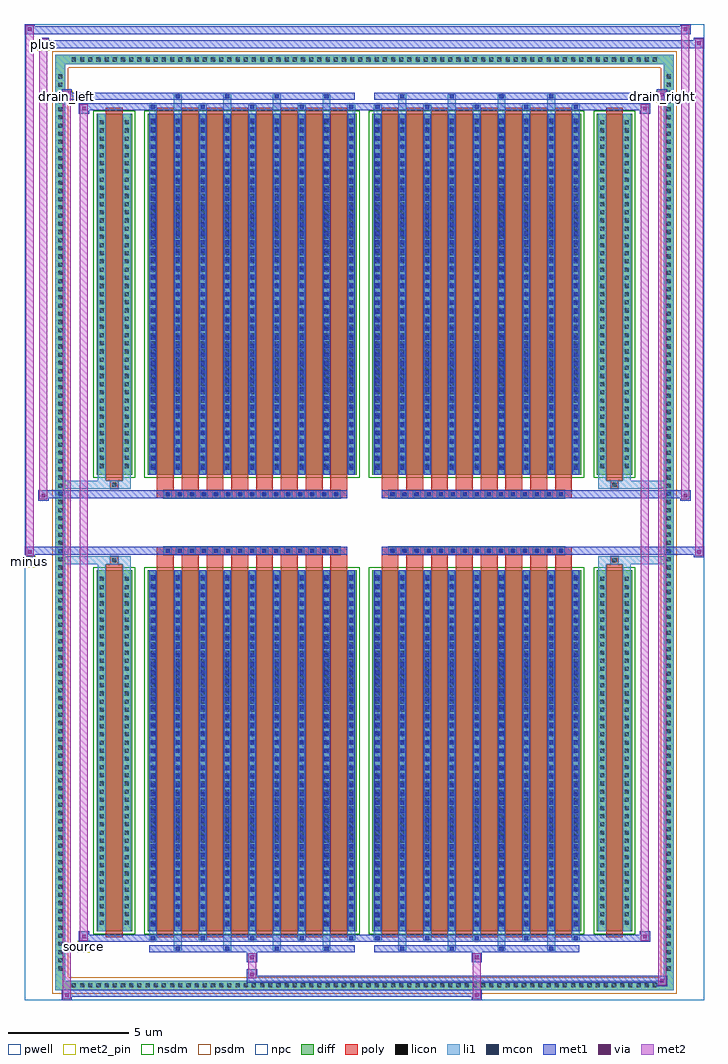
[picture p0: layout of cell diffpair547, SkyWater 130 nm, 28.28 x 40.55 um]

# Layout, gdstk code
import gdstk
lib = gdstk.Library(unit=1e-6, precision=5e-09)
def R(c, l, rs):  # rectangles x0, y0, x1, y1
    for r in rs: c.add(gdstk.rectangle(r[:2], r[2:], *l))
def A(c, l, x, y, w, h, nx, ny, dx, dy):  # array of equal rectangles
    R(c, l, [(x+i*dx, y+j*dy, x+i*dx+w, y+j*dy+h) for i in range(nx) for j in range(ny)])
def P(c, l, *ps):  # polygons
    for p in ps: c.add(gdstk.Polygon(p, *l))
pwell = (64, 44)
diff = (65, 20)
poly = (66, 20)
licon = (66, 44)
li1 = (67, 20)
mcon = (67, 44)
met1 = (68, 20)
via = (68, 44)
met2_pin = (69, 16)
met2 = (69, 20)
nsdm = (93, 44)
psdm = (94, 20)
npc = (95, 20)

diffpair547 = lib.new_cell('diffpair547')
R(diffpair547, pwell, [(-14.12,-19.84,14.12,20.71), (-11.44,-18.03,-0.01,-0.805), (0.01,-18.03,11.44,-0.805), (-11.44,0.805,-0.01,18.03), (0.01,0.805,11.44,18.03)])
A(diffpair547, diff, -12.275, -19.44, 0.41, 0.41, 72, 2, 0.34, 38.47)
A(diffpair547, diff, -12.85, -18.735, 0.41, 0.41, 1, 110, 0, 0.34)
A(diffpair547, diff, 12.44, -18.735, 0.41, 0.41, 1, 110, 0, 0.34)
R(diffpair547, diff, [(-12.275,-19.44,12.275,-19.03), (-12.85,-18.735,-12.44,18.735), (12.44,-18.735,12.85,18.735), (-11.13,-16.985,-9.65,-1.985), (-9.01,-16.985,-0.32,-1.985), (0.32,-16.985,9.01,-1.985), (9.65,-16.985,11.13,-1.985), (-11.13,1.985,-9.65,16.985), (-9.01,1.985,-0.32,16.985), (0.32,1.985,9.01,16.985), (9.65,1.985,11.13,16.985), (-12.275,19.03,12.275,19.44)])
P(diffpair547, diff, [(12.85,19.44),(-12.85,19.44),(-12.85,-19.03),(-12.44,-19.03),(-12.44,19.03),(12.44,19.03),(12.44,-19.03),(-12.44,-19.03),(-12.85,-19.03),(-12.85,-19.44),(12.85,-19.44)])
A(diffpair547, poly, -8.62, -17.235, 0.7, 15.5, 8, 2, 1.03, 18.97)
A(diffpair547, poly, 0.71, -17.235, 0.7, 15.5, 8, 2, 1.03, 18.97)
A(diffpair547, poly, -8.62, -1.735, 0.7, 0.4, 8, 2, 1.03, 3.07)
A(diffpair547, poly, 0.71, -1.735, 0.7, 0.4, 8, 2, 1.03, 3.07)
A(diffpair547, poly, -8.33, -1.335, 0.33, 0.33, 15, 2, 0.5, 2.34)
A(diffpair547, poly, 1, -1.335, 0.33, 0.33, 15, 2, 0.5, 2.34)
R(diffpair547, poly, [(-10.74,-17.235,-10.04,-1.735), (10.04,-17.235,10.74,-1.735), (-10.555,-1.735,-10.225,-1.405), (-10.555,-1.735,-10.225,-1.405), (10.225,-1.735,10.555,-1.405), (10.225,-1.735,10.555,-1.405), (-8.62,-1.335,-0.71,-1.005), (0.71,-1.335,8.62,-1.005), (-8.62,1.005,-0.71,1.335), (0.71,1.005,8.62,1.335), (-10.555,1.405,-10.225,1.735), (-10.555,1.405,-10.225,1.735), (10.225,1.405,10.555,1.735), (10.225,1.405,10.555,1.735), (-10.74,1.735,-10.04,17.235), (10.04,1.735,10.74,17.235)])
A(diffpair547, licon, -12.155, -19.32, 0.17, 0.17, 72, 2, 0.34, 38.47)
A(diffpair547, licon, -12.73, -18.615, 0.17, 0.17, 1, 110, 0, 0.34)
A(diffpair547, licon, 12.56, -18.615, 0.17, 0.17, 1, 110, 0, 0.34)
A(diffpair547, licon, -10.99, -16.71, 0.17, 0.17, 1, 43, 0, 0.34)
A(diffpair547, licon, -9.96, -16.71, 0.17, 0.17, 1, 43, 0, 0.34)
A(diffpair547, licon, -8.87, -16.71, 0.17, 0.17, 9, 43, 1.03, 0.34)
A(diffpair547, licon, 0.46, -16.71, 0.17, 0.17, 9, 43, 1.03, 0.34)
A(diffpair547, licon, 9.79, -16.71, 0.17, 0.17, 1, 43, 0, 0.34)
A(diffpair547, licon, 10.82, -16.71, 0.17, 0.17, 1, 43, 0, 0.34)
A(diffpair547, licon, -8.25, -1.255, 0.17, 0.17, 15, 2, 0.5, 2.34)
A(diffpair547, licon, 1.08, -1.255, 0.17, 0.17, 15, 2, 0.5, 2.34)
A(diffpair547, licon, -10.99, 2.26, 0.17, 0.17, 1, 43, 0, 0.34)
A(diffpair547, licon, -9.96, 2.26, 0.17, 0.17, 1, 43, 0, 0.34)
A(diffpair547, licon, -8.87, 2.26, 0.17, 0.17, 9, 43, 1.03, 0.34)
A(diffpair547, licon, 0.46, 2.26, 0.17, 0.17, 9, 43, 1.03, 0.34)
A(diffpair547, licon, 9.79, 2.26, 0.17, 0.17, 1, 43, 0, 0.34)
A(diffpair547, licon, 10.82, 2.26, 0.17, 0.17, 1, 43, 0, 0.34)
R(diffpair547, licon, [(-10.475,-1.655,-10.305,-1.485), (10.305,-1.655,10.475,-1.485), (-10.475,1.485,-10.305,1.655), (10.305,1.485,10.475,1.655)])
A(diffpair547, li1, -12.235, -19.4, 0.33, 0.33, 72, 2, 0.34, 38.47)
A(diffpair547, li1, -12.81, -18.695, 0.33, 0.33, 1, 110, 0, 0.34)
A(diffpair547, li1, 12.48, -18.695, 0.33, 0.33, 1, 110, 0, 0.34)
A(diffpair547, li1, -7.92, -17.79, 0.33, 0.805, 4, 2, 2.06, 34.775)
A(diffpair547, li1, -7.84, -17.79, 0.17, 0.17, 4, 2, 2.06, 35.41)
A(diffpair547, li1, 1.41, -17.79, 0.33, 0.805, 4, 2, 2.06, 34.775)
A(diffpair547, li1, 1.49, -17.79, 0.17, 0.17, 4, 2, 2.06, 35.41)
A(diffpair547, li1, -8.95, -17.36, 0.33, 0.375, 5, 2, 2.06, 34.345)
A(diffpair547, li1, -8.87, -17.36, 0.17, 0.17, 5, 2, 2.06, 34.55)
A(diffpair547, li1, 0.38, -17.36, 0.33, 0.375, 5, 2, 2.06, 34.345)
A(diffpair547, li1, 0.46, -17.36, 0.17, 0.17, 5, 2, 2.06, 34.55)
A(diffpair547, li1, -8.95, -16.985, 0.33, 15, 9, 2, 1.03, 18.97)
A(diffpair547, li1, 0.38, -16.985, 0.33, 15, 9, 2, 1.03, 18.97)
A(diffpair547, li1, -11.07, -16.79, 0.33, 0.33, 1, 43, 0, 0.34)
A(diffpair547, li1, -10.04, -16.79, 0.33, 0.33, 1, 43, 0, 0.34)
A(diffpair547, li1, -8.95, -16.79, 0.33, 0.33, 9, 43, 1.03, 0.34)
A(diffpair547, li1, 0.38, -16.79, 0.33, 0.33, 9, 43, 1.03, 0.34)
A(diffpair547, li1, 9.71, -16.79, 0.33, 0.33, 1, 43, 0, 0.34)
A(diffpair547, li1, 10.74, -16.79, 0.33, 0.33, 1, 43, 0, 0.34)
A(diffpair547, li1, -8.87, -16.77, 0.17, 0.17, 9, 41, 1.03, 0.36)
A(diffpair547, li1, -8.87, -16.77, 0.17, 14.57, 9, 2, 1.03, 18.97)
A(diffpair547, li1, 0.46, -16.77, 0.17, 0.17, 9, 41, 1.03, 0.36)
A(diffpair547, li1, 0.46, -16.77, 0.17, 14.57, 9, 2, 1.03, 18.97)
A(diffpair547, li1, -8.33, -1.335, 0.33, 0.33, 15, 2, 0.5, 2.34)
A(diffpair547, li1, 1, -1.335, 0.33, 0.33, 15, 2, 0.5, 2.34)
A(diffpair547, li1, -11.07, 2.18, 0.33, 0.33, 1, 43, 0, 0.34)
A(diffpair547, li1, -10.04, 2.18, 0.33, 0.33, 1, 43, 0, 0.34)
A(diffpair547, li1, -8.95, 2.18, 0.33, 0.33, 9, 43, 1.03, 0.34)
A(diffpair547, li1, 0.38, 2.18, 0.33, 0.33, 9, 43, 1.03, 0.34)
A(diffpair547, li1, 9.71, 2.18, 0.33, 0.33, 1, 43, 0, 0.34)
A(diffpair547, li1, 10.74, 2.18, 0.33, 0.33, 1, 43, 0, 0.34)
A(diffpair547, li1, -8.87, 2.2, 0.17, 0.17, 9, 41, 1.03, 0.36)
A(diffpair547, li1, 0.46, 2.2, 0.17, 0.17, 9, 41, 1.03, 0.36)
R(diffpair547, li1, [(-12.85,-19.44,-12.44,-19.03), (-12.85,-19.44,-12.44,-19.03), (-12.44,-19.44,12.44,-19.03), (12.44,-19.44,12.85,-19.03), (12.44,-19.44,12.85,-19.03), (-12.85,-19.03,-12.44,19.03), (12.44,-19.03,12.85,19.03), (-11.07,-16.985,-10.74,-1.985), (-10.04,-16.985,-9.71,-1.985), (9.71,-16.985,10.04,-1.985), (10.74,-16.985,11.07,-1.985), (-11.07,-1.985,-10.74,-1.405), (-10.04,-1.985,-9.71,-1.405), (9.71,-1.985,10.04,-1.405), (10.74,-1.985,11.07,-1.405), (-12.85,-1.735,-10.555,-1.405), (-11.07,-1.735,-10.555,-1.405), (-10.555,-1.735,-10.225,-1.405), (-10.225,-1.735,-9.71,-1.405), (9.71,-1.735,10.225,-1.405), (10.225,-1.735,10.555,-1.405), (10.225,-1.735,12.85,-1.405), (10.555,-1.735,11.07,-1.405), (-12.85,1.405,-10.555,1.735), (-11.07,1.405,-10.555,1.735), (-11.07,1.405,-10.74,1.985), (-10.555,1.405,-10.225,1.735), (-10.225,1.405,-9.71,1.735), (-10.04,1.405,-9.71,1.985), (9.71,1.405,10.225,1.735), (9.71,1.405,10.04,1.985), (10.225,1.405,10.555,1.735), (10.225,1.405,12.85,1.735), (10.555,1.405,11.07,1.735), (10.74,1.405,11.07,1.985), (-11.07,1.985,-10.74,16.985), (-10.04,1.985,-9.71,16.985), (9.71,1.985,10.04,16.985), (10.74,1.985,11.07,16.985), (-12.85,19.03,-12.44,19.44), (-12.85,19.03,-12.44,19.44), (-12.44,19.03,12.44,19.44), (12.44,19.03,12.85,19.44), (12.44,19.03,12.85,19.44)])
A(diffpair547, mcon, -7.84, -17.79, 0.17, 0.17, 4, 2, 2.06, 35.41)
A(diffpair547, mcon, 1.49, -17.79, 0.17, 0.17, 4, 2, 2.06, 35.41)
A(diffpair547, mcon, -8.87, -17.36, 0.17, 0.17, 5, 2, 2.06, 34.55)
A(diffpair547, mcon, 0.46, -17.36, 0.17, 0.17, 5, 2, 2.06, 34.55)
A(diffpair547, mcon, -8.87, -16.77, 0.17, 0.17, 9, 41, 1.03, 0.36)
A(diffpair547, mcon, 0.46, -16.77, 0.17, 0.17, 9, 41, 1.03, 0.36)
A(diffpair547, mcon, -8.25, -1.255, 0.17, 0.17, 15, 2, 0.5, 2.34)
A(diffpair547, mcon, 1.08, -1.255, 0.17, 0.17, 15, 2, 0.5, 2.34)
A(diffpair547, mcon, -8.87, 2.2, 0.17, 0.17, 9, 41, 1.03, 0.36)
A(diffpair547, mcon, 0.46, 2.2, 0.17, 0.17, 9, 41, 1.03, 0.36)
A(diffpair547, met1, -7.9, -17.85, 0.29, 0.29, 4, 2, 2.06, 35.41)
A(diffpair547, met1, 1.43, -17.85, 0.29, 0.29, 4, 2, 2.06, 35.41)
A(diffpair547, met1, -8.93, -17.42, 0.29, 0.29, 5, 2, 2.06, 34.55)
A(diffpair547, met1, 0.4, -17.42, 0.29, 0.29, 5, 2, 2.06, 34.55)
A(diffpair547, met1, -8.93, -16.985, 0.29, 15, 9, 2, 1.03, 18.97)
A(diffpair547, met1, 0.4, -16.985, 0.29, 15, 9, 2, 1.03, 18.97)
A(diffpair547, met1, -8.93, -16.83, 0.29, 0.29, 9, 41, 1.03, 0.36)
A(diffpair547, met1, 0.4, -16.83, 0.29, 0.29, 9, 41, 1.03, 0.36)
A(diffpair547, met1, -8.31, -1.315, 0.29, 0.29, 15, 2, 0.5, 2.34)
A(diffpair547, met1, 1.02, -1.315, 0.29, 0.29, 15, 2, 0.5, 2.34)
A(diffpair547, met1, -8.93, 2.14, 0.29, 0.29, 9, 41, 1.03, 0.36)
A(diffpair547, met1, 0.4, 2.14, 0.29, 0.29, 9, 41, 1.03, 0.36)
R(diffpair547, met1, [(-12.58,-19.84,-12.15,-19.41), (4.45,-19.84,4.88,-19.41), (-12.58,-19.7,4.88,-19.41), (12.15,-19.27,12.58,-18.84), (-4.88,-19.13,12.58,-18.84), (-4.88,-18.99,-4.45,-18.56), (-4.88,-18.28,-4.45,-17.85), (4.45,-18.28,4.88,-17.85), (-8.93,-17.85,-0.4,-17.56), (0.4,-17.85,8.93,-17.56), (-11.87,-17.42,-11.44,-16.99), (-11.87,-17.42,-8.93,-17.13), (-8.93,-17.42,-0.4,-17.13), (-0.4,-17.42,0.4,-17.13), (0.4,-17.42,8.93,-17.13), (8.93,-17.42,11.87,-17.13), (11.44,-17.42,11.87,-16.99), (-14.12,-1.435,-13.69,-1.005), (13.69,-1.435,14.12,-1.005), (-14.12,-1.335,-0.71,-1.005), (-8.62,-1.335,-0.71,-1.005), (0.71,-1.335,8.62,-1.005), (0.71,-1.335,14.12,-1.005), (-13.55,0.905,-13.12,1.335), (13.12,0.905,13.55,1.335), (-13.55,1.005,-8.62,1.335), (-8.62,1.005,-0.71,1.335), (0.71,1.005,8.62,1.335), (8.62,1.005,13.55,1.335), (-11.87,16.99,-11.44,17.42), (11.44,16.99,11.87,17.42), (-11.87,17.13,-8.93,17.42), (-8.93,17.13,-0.4,17.42), (-0.4,17.13,0.4,17.42), (0.4,17.13,8.93,17.42), (8.93,17.13,11.87,17.42), (-12.58,17.56,-12.15,17.99), (-12.58,17.56,-8.93,17.85), (-8.93,17.56,-0.4,17.85), (0.4,17.56,8.93,17.85), (8.93,17.56,12.58,17.85), (12.15,17.56,12.58,17.99), (-13.55,19.71,-13.12,20.14), (-13.55,19.71,-11.44,20.04), (-11.44,19.71,11.44,20.04), (11.44,19.71,14.12,20.04), (13.69,19.71,14.12,20.14), (-14.12,20.28,-13.69,20.71), (-14.12,20.28,-11.44,20.61), (-11.44,20.28,11.44,20.61), (11.44,20.28,13.55,20.61), (13.12,20.28,13.55,20.71)])
R(diffpair547, via, [(-12.44,-19.7,-12.29,-19.55), (4.59,-19.7,4.74,-19.55), (12.29,-19.13,12.44,-18.98), (-4.74,-18.85,-4.59,-18.7), (-4.74,-18.14,-4.59,-17.99), (4.59,-18.14,4.74,-17.99), (-11.73,-17.28,-11.58,-17.13), (11.58,-17.28,11.73,-17.13), (-13.98,-1.295,-13.83,-1.145), (13.83,-1.295,13.98,-1.145), (-13.41,1.045,-13.26,1.195), (13.26,1.045,13.41,1.195), (-11.73,17.13,-11.58,17.28), (11.58,17.13,11.73,17.28), (-12.44,17.7,-12.29,17.85), (12.29,17.7,12.44,17.85), (-13.41,19.85,-13.26,20), (13.83,19.85,13.98,20), (-13.98,20.42,-13.83,20.57), (13.26,20.42,13.41,20.57)])
R(diffpair547, met2_pin, [(-11.905,-17.87,-11.405,-17.37), (-14.155,-1.885,-13.655,-1.385), (-12.615,17.44,-12.115,17.94), (12.115,17.44,12.615,17.94), (-13.585,19.59,-13.085,20.09)])
R(diffpair547, met2, [(-12.53,-19.79,-12.2,-19.46), (-12.53,-19.79,-12.2,17.94), (4.5,-19.79,4.83,-19.46), (4.5,-19.46,4.83,-18.23), (12.2,-19.22,12.53,-18.89), (12.2,-19.22,12.53,17.94), (-4.83,-18.94,-4.5,-18.61), (-4.83,-18.61,-4.5,-18.23), (-4.83,-18.23,-4.5,-17.9), (4.5,-18.23,4.83,-17.9), (-11.82,-17.37,-11.49,-17.04), (-11.82,-17.37,-11.49,17.37), (11.49,-17.37,11.82,-17.04), (11.49,-17.37,11.82,17.37), (-14.07,-1.385,-13.74,-1.055), (-14.07,-1.385,-13.74,20.66), (13.74,-1.385,14.07,-1.055), (13.74,-1.385,14.07,20.09), (-13.5,0.955,-13.17,1.285), (-13.5,0.955,-13.17,20.09), (13.17,0.955,13.5,1.285), (13.17,0.955,13.5,20.66), (-11.82,17.04,-11.49,17.37), (11.49,17.04,11.82,17.37), (-12.53,17.61,-12.2,17.94), (12.2,17.61,12.53,17.94), (-13.5,19.76,-13.17,20.09), (13.74,19.76,14.07,20.09), (-14.07,20.33,-13.74,20.66), (13.17,20.33,13.5,20.66)])
P(diffpair547, met2, [(14.07,-1.385),(14.07,-1.385),(14.07,-1.055),(14.07,-1.055)],
  [(14.07,19.76),(14.07,19.76),(14.07,20.09),(14.07,20.09)],
  [(-13.74,-1.385),(-13.74,-1.385),(-13.74,-1.055),(-13.74,-1.055)],
  [(-13.74,20.33),(-13.74,20.33),(-13.74,20.66),(-13.74,20.66)],
  [(13.5,0.955),(13.5,0.955),(13.5,1.285),(13.5,1.285)],
  [(13.5,20.33),(13.5,20.33),(13.5,20.66),(13.5,20.66)],
  [(-13.17,0.955),(-13.17,0.955),(-13.17,1.285),(-13.17,1.285)],
  [(-13.17,19.76),(-13.17,19.76),(-13.17,20.09),(-13.17,20.09)],
  [(-12.2,-19.79),(-12.2,-19.79),(-12.2,-19.46),(-12.2,-19.46)],
  [(-12.2,17.61),(-12.2,17.61),(-12.2,17.94),(-12.2,17.94)],
  [(12.53,-19.22),(12.53,-19.22),(12.53,-18.89),(12.53,-18.89)],
  [(12.53,17.61),(12.53,17.61),(12.53,17.94),(12.53,17.94)],
  [(-11.49,-17.37),(-11.49,-17.37),(-11.49,-17.04),(-11.49,-17.04)],
  [(-11.49,17.04),(-11.49,17.04),(-11.49,17.37),(-11.49,17.37)],
  [(11.82,-17.37),(11.82,-17.37),(11.82,-17.04),(11.82,-17.04)],
  [(11.82,17.04),(11.82,17.04),(11.82,17.37),(11.82,17.37)])
R(diffpair547, nsdm, [(-11.26,-17.115,-9.52,-1.855), (-9.14,-17.115,-0.19,-1.855), (0.19,-17.115,9.14,-1.855), (9.52,-17.115,11.26,-1.855), (-11.26,1.855,-9.52,17.115), (-9.14,1.855,-0.19,17.115), (0.19,1.855,9.14,17.115), (9.52,1.855,11.26,17.115)])
P(diffpair547, psdm, [(12.98,19.57),(-12.98,19.57),(-12.98,-18.9),(-12.31,-18.9),(-12.31,18.9),(12.31,18.9),(12.31,-18.9),(-12.31,-18.9),(-12.98,-18.9),(-12.98,-19.57),(12.98,-19.57)])
A(diffpair547, npc, -8.35, -1.355, 0.37, 0.37, 15, 2, 0.5, 2.34)
A(diffpair547, npc, 0.98, -1.355, 0.37, 0.37, 15, 2, 0.5, 2.34)
R(diffpair547, npc, [(-10.575,-1.755,-10.205,-1.385), (10.205,-1.755,10.575,-1.385), (-8.35,-1.355,-7.48,-0.985), (-8.35,-1.355,-7.48,-0.985), (-7.85,-1.355,-6.98,-0.985), (-7.85,-1.355,-6.98,-0.985), (-7.35,-1.355,-6.48,-0.985), (-7.35,-1.355,-6.48,-0.985), (-6.85,-1.355,-5.98,-0.985), (-6.85,-1.355,-5.98,-0.985), (-6.35,-1.355,-5.48,-0.985), (-6.35,-1.355,-5.48,-0.985), (-5.85,-1.355,-4.98,-0.985), (-5.85,-1.355,-4.98,-0.985), (-5.35,-1.355,-4.48,-0.985), (-5.35,-1.355,-4.48,-0.985), (-4.85,-1.355,-3.98,-0.985), (-4.85,-1.355,-3.98,-0.985), (-4.35,-1.355,-3.48,-0.985), (-4.35,-1.355,-3.48,-0.985), (-3.85,-1.355,-2.98,-0.985), (-3.85,-1.355,-2.98,-0.985), (-3.35,-1.355,-2.48,-0.985), (-3.35,-1.355,-2.48,-0.985), (-2.85,-1.355,-1.98,-0.985), (-2.85,-1.355,-1.98,-0.985), (-2.35,-1.355,-1.48,-0.985), (-2.35,-1.355,-1.48,-0.985), (-1.85,-1.355,-0.98,-0.985), (-1.85,-1.355,-0.98,-0.985), (0.98,-1.355,1.85,-0.985), (0.98,-1.355,1.85,-0.985), (1.48,-1.355,2.35,-0.985), (1.48,-1.355,2.35,-0.985), (1.98,-1.355,2.85,-0.985), (1.98,-1.355,2.85,-0.985), (2.48,-1.355,3.35,-0.985), (2.48,-1.355,3.35,-0.985), (2.98,-1.355,3.85,-0.985), (2.98,-1.355,3.85,-0.985), (3.48,-1.355,4.35,-0.985), (3.48,-1.355,4.35,-0.985), (3.98,-1.355,4.85,-0.985), (3.98,-1.355,4.85,-0.985), (4.48,-1.355,5.35,-0.985), (4.48,-1.355,5.35,-0.985), (4.98,-1.355,5.85,-0.985), (4.98,-1.355,5.85,-0.985), (5.48,-1.355,6.35,-0.985), (5.48,-1.355,6.35,-0.985), (5.98,-1.355,6.85,-0.985), (5.98,-1.355,6.85,-0.985), (6.48,-1.355,7.35,-0.985), (6.48,-1.355,7.35,-0.985), (6.98,-1.355,7.85,-0.985), (6.98,-1.355,7.85,-0.985), (7.48,-1.355,8.35,-0.985), (7.48,-1.355,8.35,-0.985), (-8.35,0.985,-7.48,1.355), (-8.35,0.985,-7.48,1.355), (-7.85,0.985,-6.98,1.355), (-7.85,0.985,-6.98,1.355), (-7.35,0.985,-6.48,1.355), (-7.35,0.985,-6.48,1.355), (-6.85,0.985,-5.98,1.355), (-6.85,0.985,-5.98,1.355), (-6.35,0.985,-5.48,1.355), (-6.35,0.985,-5.48,1.355), (-5.85,0.985,-4.98,1.355), (-5.85,0.985,-4.98,1.355), (-5.35,0.985,-4.48,1.355), (-5.35,0.985,-4.48,1.355), (-4.85,0.985,-3.98,1.355), (-4.85,0.985,-3.98,1.355), (-4.35,0.985,-3.48,1.355), (-4.35,0.985,-3.48,1.355), (-3.85,0.985,-2.98,1.355), (-3.85,0.985,-2.98,1.355), (-3.35,0.985,-2.48,1.355), (-3.35,0.985,-2.48,1.355), (-2.85,0.985,-1.98,1.355), (-2.85,0.985,-1.98,1.355), (-2.35,0.985,-1.48,1.355), (-2.35,0.985,-1.48,1.355), (-1.85,0.985,-0.98,1.355), (-1.85,0.985,-0.98,1.355), (0.98,0.985,1.85,1.355), (0.98,0.985,1.85,1.355), (1.48,0.985,2.35,1.355), (1.48,0.985,2.35,1.355), (1.98,0.985,2.85,1.355), (1.98,0.985,2.85,1.355), (2.48,0.985,3.35,1.355), (2.48,0.985,3.35,1.355), (2.98,0.985,3.85,1.355), (2.98,0.985,3.85,1.355), (3.48,0.985,4.35,1.355), (3.48,0.985,4.35,1.355), (3.98,0.985,4.85,1.355), (3.98,0.985,4.85,1.355), (4.48,0.985,5.35,1.355), (4.48,0.985,5.35,1.355), (4.98,0.985,5.85,1.355), (4.98,0.985,5.85,1.355), (5.48,0.985,6.35,1.355), (5.48,0.985,6.35,1.355), (5.98,0.985,6.85,1.355), (5.98,0.985,6.85,1.355), (6.48,0.985,7.35,1.355), (6.48,0.985,7.35,1.355), (6.98,0.985,7.85,1.355), (6.98,0.985,7.85,1.355), (7.48,0.985,8.35,1.355), (7.48,0.985,8.35,1.355), (-10.575,1.385,-10.205,1.755), (10.205,1.385,10.575,1.755)])
diffpair547.add(gdstk.Label('minus', (-13.905,-1.635), layer=69, texttype=5))
diffpair547.add(gdstk.Label('drain_right', (12.365,17.69), layer=69, texttype=5))
diffpair547.add(gdstk.Label('drain_left', (-12.365,17.69), layer=69, texttype=5))
diffpair547.add(gdstk.Label('source', (-11.655,-17.62), layer=69, texttype=5))
diffpair547.add(gdstk.Label('plus', (-13.335,19.84), layer=69, texttype=5))

lib.write_gds('diffpair547.gds')
